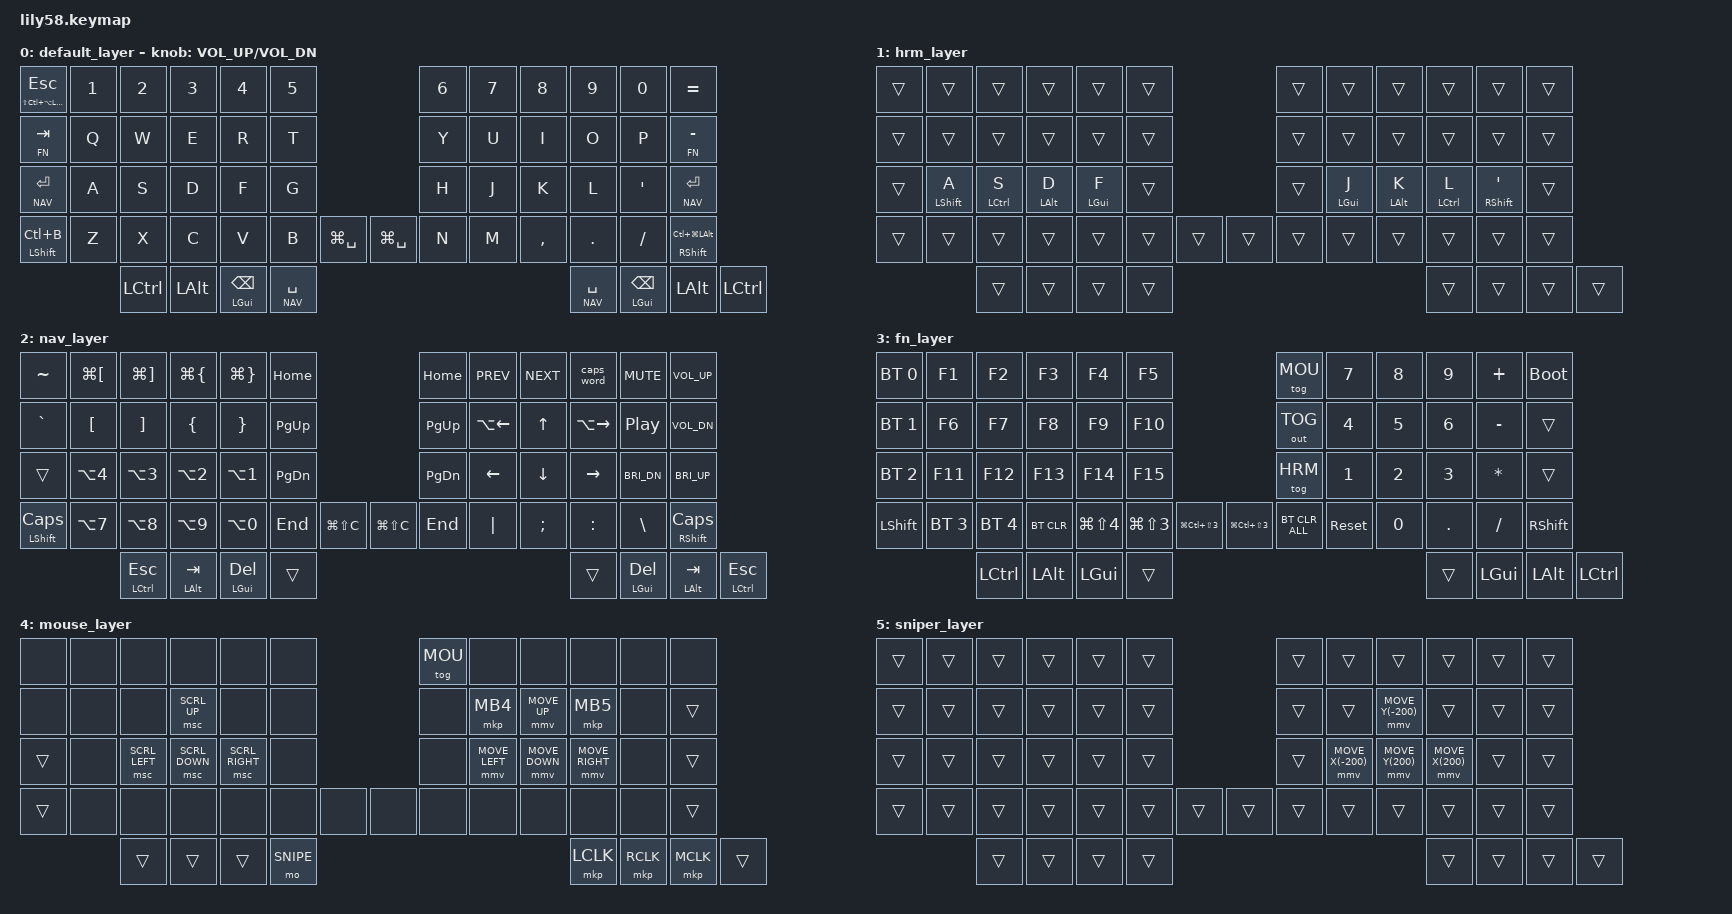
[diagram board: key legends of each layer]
/*
 * Lily58 Pro — alec's keymap
 *
 * Adapted from the jwoolson "Lily58 Pro / Beekeeb Allium58 GLP" v14 layout,
 * with the Windows-only keys swapped for macOS equivalents.
 *
 *   0 default  alpha-numerics & symbols
 *   1 hrm      home row mods — TOGGLED, off by default (&tog 1 on layer 3)
 *   2 nav      navigation, media controls & symbols   (v14 calls this "Layer 1")
 *   3 fn       numpad, F-keys, BT, screenshots        (v14 calls this "Layer 2")
 *   4 mou      mouse emulation — TOGGLED, off by default
 *   5 snipe    slow-cursor overlay, held from inside mou
 *
 * LAYER ORDER IS LOAD-BEARING. ZMK resolves the highest ACTIVE layer first, so
 * `hrm` must sit below `nav`/`fn`. At index 4 it would shadow nav's arrows on
 * S / D / F whenever it was toggled on. Do not renumber without re-checking.
 *
 * `mou` and `snipe` sit ABOVE nav/fn, which is the opposite of the hrm rule and
 * is deliberate: while the cursor is live, the mouse cluster must beat nav's
 * arrows on the same I/J/K/L keys. The cost is that nav is unreachable with mou
 * toggled on — leave mou first.
 *
 * Reaching the layers:
 *   nav  — hold Space (either thumb) or Enter (either home-row pinky)
 *   fn   — hold Tab (left pinky) or Dash (right pinky)
 *   mou  — &tog on fn at [6], or the O+L combo; same key/combo exits
 *
 * Modifiers live on the thumbs: ⌃ outer, then Enter/⌥ and Bksp/⌘ as mod-taps.
 * Both hands emit LEFT-side mod codes, matching ~/.config/kanata/kanata.kbd.
 *
 * NOTE: kanata grabs every keyboard on the Mac, so kanata.kbd carries a
 * `macos-dev-names-exclude ("Lily58")` to stop it stacking its own home row
 * mods on top of layer 1. Keep the two files in sync.
 *
 * SPDX-License-Identifier: MIT
 */

#include <behaviors.dtsi>
#include <dt-bindings/zmk/keys.h>
#include <dt-bindings/zmk/bt.h>
#include <dt-bindings/zmk/ext_power.h>
#include <dt-bindings/zmk/outputs.h>
#include <dt-bindings/zmk/pointing.h>

/* ------------------------------------------------------------------ *
 * Key positions, for the bilateral-combinations guard on layer 1.
 *
 *   0  1  2  3  4  5                6  7  8  9 10 11
 *  12 13 14 15 16 17               18 19 20 21 22 23
 *  24 25 26 27 28 29               30 31 32 33 34 35
 *  36 37 38 39 40 41 42         43 44 45 46 47 48 49
 *           50 51 52 53         54 55 56 57
 *
 * THUMBS also covers 42/43 (the inner Spotlight keys). They sit on a hand
 * physically, but count as neutral so a same-side home row mod can still
 * chord with them.
 * ------------------------------------------------------------------ */
#define LEFT_HAND   0  1  2  3  4  5 12 13 14 15 16 17 24 25 26 27 28 29 36 37 38 39 40 41
#define RIGHT_HAND  6  7  8  9 10 11 18 19 20 21 22 23 30 31 32 33 34 35 44 45 46 47 48 49
#define THUMBS     42 43 50 51 52 53 54 55 56 57

#define DEF   0
#define HRM   1
#define NAV   2
#define FN    3
#define MOU   4
#define SNIPE 5

/* macOS shortcuts bound to single keys */
#define SPOTLIGHT  LG(SPACE)          /* ⌘␣            — Spotlight            */
#define MACCY      LG(LS(C))          /* ⌘⇧C           — Maccy clipboard      */
#define SHOT_CLIP  LG(LC(LS(N3)))     /* ⌘⌃⇧3          — full screen → clipboard */
#define SHOT_FILE  LG(LS(N3))         /* ⌘⇧3           — full screen → file   */
#define SNIP_FILE  LG(LS(N4))         /* ⌘⇧4           — region → file        */
#define HERDR      LC(B)              /* ⌃B            — herdr prefix         */
#define WISPR_HF   LC(LG(LALT))       /* ⌃⌘⌥          — Wispr Flow hands-free */
/* Big chord modifiers: nothing else on macOS claims them, so they are safe
 * targets for app-level hotkeys. Esc holds HYPER; swap to MEH if ⌘ gets in
 * the way (MEH is the same chord without it). */
#define HYPER      LS(LC(LA(LGUI)))   /* ⌃⌥⇧⌘ — reserved for quadclick      */
#define MEH        LS(LC(LALT))       /* ⌃⌥⇧  — the ⌘-less alternative      */

/ {
    behaviors {
        // Thumb layer-tap: HOLD = the layer, TAP = space.
        // hold-preferred: any other key pressed while the thumb is down resolves
        //   to HOLD instantly, so normal layer use never misfires a tap.
        // require-prior-idle-ms: pressed mid-typing-burst -> forced HOLD, so fast
        //   rolls don't emit a stray space.
        lt_thumb: layer_tap_thumb {
            compatible = "zmk,behavior-hold-tap";
            #binding-cells = <2>;
            flavor = "hold-preferred";
            tapping-term-ms = <200>;
            require-prior-idle-ms = <125>;
            bindings = <&mo>, <&kp>;
        };

        // Layer-tap for the four FINGER keys that reach a layer — Tab, Dash and
        // both Enters. "balanced" rather than hold-preferred: these sit in the
        // typing stream, and hold-preferred would turn "Tab then a letter" into
        // a layer press. Balanced only commits to the hold once the other key is
        // pressed AND released inside it.
        lt_key: layer_tap_key {
            compatible = "zmk,behavior-hold-tap";
            #binding-cells = <2>;
            flavor = "balanced";
            tapping-term-ms = <200>;
            quick-tap-ms = <200>;
            require-prior-idle-ms = <125>;
            bindings = <&mo>, <&kp>;
        };

        /* Esc: tap Esc, hold HYPER.
         * "balanced", NOT the stock &mt hold-preferred: Esc is tapped constantly
         * and vim's `<Esc>j` presses a key immediately after. hold-preferred
         * would turn that into HYPER+j. Balanced only takes the hold if the
         * other key is pressed AND released inside it -- and Esc is released
         * before j is pressed, so it stays a tap. Holding Esc alone past the
         * term still resolves to HYPER on timeout, which is what a mouse chord
         * needs, since ZMK never sees the click.
         */
        mt_esc: mod_tap_esc {
            compatible = "zmk,behavior-hold-tap";
            #binding-cells = <2>;
            flavor = "balanced";
            tapping-term-ms = <200>;
            quick-tap-ms = <200>;
            bindings = <&kp>, <&kp>;
        };

        /* ---------------- home row mods (layer 1 only) ----------------
         * ZMK translation of kanata's `tap-hold-release-keys`:
         *
         *   flavor = "balanced"        -> hold only commits once the OTHER key
         *       has been pressed AND released inside the hold. Same resolution
         *       rule as tap-hold-release.
         *
         *   hold-trigger-key-positions -> bilateral combinations. kanata lists
         *       the SAME-hand keys that force a tap; ZMK lists the OPPOSITE-hand
         *       positions allowed to trigger a hold. Same rule, inverted
         *       spelling. Thumbs count for both hands.
         *
         *   hold-trigger-on-release    -> defers the positional check to key
         *       release so a second mod can stack on the first (hold F + hold D,
         *       then tap J = ⌘⌥J). ZMK's equivalent of kanata's
         *       `concurrent-tap-hold yes`.
         *
         *   quick-tap-ms = 200         -> kanata's `tap-time`: tap then re-press
         *       inside 200ms auto-repeats the letter instead of holding a mod.
         *
         *   require-prior-idle-ms      -> no kanata equivalent; ZMK has no
         *       same-hand "force the tap now" escape hatch, so a mod pressed
         *       inside a typing burst is forced to its letter. First knob to
         *       lower if legitimate chords feel blocked.
         */
        hml: home_row_mod_left {
            compatible = "zmk,behavior-hold-tap";
            #binding-cells = <2>;
            flavor = "balanced";
            tapping-term-ms = <200>;
            quick-tap-ms = <200>;
            require-prior-idle-ms = <125>;
            hold-trigger-key-positions = <RIGHT_HAND THUMBS>;
            hold-trigger-on-release;
            bindings = <&kp>, <&kp>;
        };

        hmr: home_row_mod_right {
            compatible = "zmk,behavior-hold-tap";
            #binding-cells = <2>;
            flavor = "balanced";
            tapping-term-ms = <200>;
            quick-tap-ms = <200>;
            require-prior-idle-ms = <125>;
            hold-trigger-key-positions = <LEFT_HAND THUMBS>;
            hold-trigger-on-release;
            bindings = <&kp>, <&kp>;
        };

        /* Pinky variants. 240ms, not 200: the 2026-08-06 typing profile
         * (603 keystrokes) measured the left pinky at p50 109ms / p90 146ms /
         * max 205ms, versus 77-90ms p50 on every other finger. Same 240ms the
         * laptop uses via $pinky-hold-time. Re-measure with
         * `swift ~/.config/kanata/typing-profile.swift` (kanata stopped).
         *
         * require-prior-idle-ms is 100 rather than 125 because unlike the other
         * mods, shift genuinely IS needed mid-burst — a capital mid-sentence.
         */
        hml_pinky: home_row_mod_left_pinky {
            compatible = "zmk,behavior-hold-tap";
            #binding-cells = <2>;
            flavor = "balanced";
            tapping-term-ms = <240>;
            quick-tap-ms = <200>;
            require-prior-idle-ms = <100>;
            hold-trigger-key-positions = <RIGHT_HAND THUMBS>;
            hold-trigger-on-release;
            bindings = <&kp>, <&kp>;
        };

        hmr_pinky: home_row_mod_right_pinky {
            compatible = "zmk,behavior-hold-tap";
            #binding-cells = <2>;
            flavor = "balanced";
            tapping-term-ms = <240>;
            quick-tap-ms = <200>;
            require-prior-idle-ms = <100>;
            hold-trigger-key-positions = <LEFT_HAND THUMBS>;
            hold-trigger-on-release;
            bindings = <&kp>, <&kp>;
        };
    };

    /* ------------------------------------------------------------------
     * Combos.
     *
     * SCOPING: combos match against the HIGHEST active layer only, not
     * every active layer — see zmk_keymap_highest_layer_active() in
     * combo.c. `hrm` is a TOGGLE, so a combo listing only DEF silently
     * stops working the moment home row mods are switched on. Every base
     * combo therefore lists <DEF HRM>.
     *
     * POSITIONS: same-hand only — cross-half combos add the peripheral to
     * central hop and the window gets fragile. Every pair below is either
     * bottom-row or a same-finger vertical, i.e. a bigram that does not
     * occur in English. The home row is off limits entirely: those are the
     * hrm keys whenever layer 1 is on.
     *
     * NO require-prior-idle-ms here, unlike the hold-taps above. It would
     * break `foo(` — you do not pause before typing a paren. Safe key
     * positions do the same job without the timing cost.
     * ------------------------------------------------------------------ */
    combos {
        compatible = "zmk,combos";

        /* Brackets, mirrored across the bottom row: left hand opens, right
         * hand closes. Z<->/  X<->.  C<->,  V<->M — one rule, six bindings.
         * These are the only parentheses on the board; the number row needs
         * shift, and nav's brackets need a layer hold. */
        cbo_lpar { key-positions = <38 39>; bindings = <&kp LPAR>; timeout-ms = <40>; layers = <DEF HRM>; };
        cbo_rpar { key-positions = <46 47>; bindings = <&kp RPAR>; timeout-ms = <40>; layers = <DEF HRM>; };
        cbo_lbkt { key-positions = <39 40>; bindings = <&kp LBKT>; timeout-ms = <40>; layers = <DEF HRM>; };
        cbo_rbkt { key-positions = <45 46>; bindings = <&kp RBKT>; timeout-ms = <40>; layers = <DEF HRM>; };

        /* Pinky pairs get a wider window. The 2026-08-06 typing profile put
         * the left pinky at p50 109ms against 77-90ms everywhere else. */
        cbo_lbrc { key-positions = <37 38>; bindings = <&kp LBRC>; timeout-ms = <55>; layers = <DEF HRM>; };
        cbo_rbrc { key-positions = <47 48>; bindings = <&kp RBRC>; timeout-ms = <55>; layers = <DEF HRM>; };

        /* Same-finger verticals — one finger owns both keys, so no roll at
         * any speed can trigger them. */
        cbo_under { key-positions = <19 31>; bindings = <&kp UNDER>;  timeout-ms = <50>; layers = <DEF HRM>; };
        cbo_minus { key-positions = <20 32>; bindings = <&kp MINUS>;  timeout-ms = <50>; layers = <DEF HRM>; };
        cbo_caps  { key-positions = <14 26>; bindings = <&caps_word>; timeout-ms = <50>; layers = <DEF HRM>; };
        cbo_mouse { key-positions = <21 33>; bindings = <&tog MOU>;   timeout-ms = <50>; layers = <DEF HRM>; };

        /* AeroSpace workspaces 5 and 6 — the two nav has no room for. Same
         * physical positions as the paren/bracket combos above; nav is the
         * higher layer, so it wins and there is no conflict. */
        cbo_ws5 { key-positions = <38 39>; bindings = <&kp LA(N5)>; timeout-ms = <40>; layers = <NAV>; };
        cbo_ws6 { key-positions = <39 40>; bindings = <&kp LA(N6)>; timeout-ms = <40>; layers = <NAV>; };
    };

    keymap {
        compatible = "zmk,keymap";

        default_layer {
// | ESC/HYP|  1  |  2  |  3  |  4  |  5  |                 |  6  |  7  |  8  |  9  |  0  |   =    |
// | TAB/FN |  Q  |  W  |  E  |  R  |  T  |                 |  Y  |  U  |  I  |  O  |  P  | -/FN   |
// | ENT/NAV|  A  |  S  |  D  |  F  |  G  |                 |  H  |  J  |  K  |  L  |  '  | ENT/NAV|
// | ⌃B/⇧   |  Z  |  X  |  C  |  V  |  B  | ⌘␣  |     | ⌘␣  |  N  |  M  |  ,  |  .  |  /  | ⌃⌘⌥/⇧  |
//                      |  ⌃  |  ⌥  | ⌫/⌘ | ␣/NAV |  | ␣/NAV | ⌫/⌘ |  ⌥  |  ⌃  |
//
// The Option thumbs are plain modifiers, NOT mod-taps. The Enter tap that
// used to live there fired by accident too often. Enter is still on both
// home-row pinkies: tap Enter, hold Nav.
//
// The two outer bottom keys are mod-taps: TAP fires the shortcut, HOLD is still
// Shift. Shift is always a hold and both shortcuts are always taps, so nothing
// collides — but they are the ONLY Shift on this layer, so do not make them
// plain &kp without putting Shift somewhere else first.
            bindings = <
&mt_esc HYPER ESC &kp N1 &kp N2 &kp N3 &kp N4 &kp N5                              &kp N6 &kp N7 &kp N8    &kp N9  &kp N0    &kp EQUAL
&lt_key FN TAB   &kp Q  &kp W  &kp E  &kp R  &kp T                               &kp Y  &kp U  &kp I     &kp O   &kp P     &lt_key FN MINUS
&lt_key NAV RET  &kp A  &kp S  &kp D  &kp F  &kp G                               &kp H  &kp J  &kp K     &kp L   &kp SQT   &lt_key NAV RET
&mt LSHFT HERDR  &kp Z  &kp X  &kp C  &kp V  &kp B  &kp SPOTLIGHT  &kp SPOTLIGHT &kp N  &kp M  &kp COMMA &kp DOT &kp FSLH  &mt RSHFT WISPR_HF
                        &kp LCTRL &kp LALT     &mt LGUI BSPC &lt_thumb NAV SPACE   &lt_thumb NAV SPACE &mt LGUI BSPC &kp LALT     &kp LCTRL
            >;

            sensor-bindings = <&inc_dec_kp C_VOL_UP C_VOL_DN>;
        };

        hrm_layer {
// Toggled on and off with &tog 1, which lives on the FN layer at the H key.
// OFF by default. Everything except the eight home-row keys is transparent, so
// the rest of the board behaves exactly as layer 0.
//
//   pinky ⇧ · ring ⌃ · middle ⌥ · index ⌘, mirrored, both hands emitting
//   LEFT-side codes. A hold only becomes a modifier when chorded with the
//   OTHER hand or a thumb; same-hand rolls just type the letter.
//
// Right pinky mod is on ' -- it taps whatever layer 0 has at that position.
            bindings = <
&trans &trans &trans &trans &trans &trans                        &trans &trans &trans &trans &trans &trans
&trans &trans &trans &trans &trans &trans                        &trans &trans &trans &trans &trans &trans
&trans &hml_pinky LSHFT A &hml LCTRL S &hml LALT D &hml LGUI F &trans  &trans &hmr LGUI J &hmr LALT K &hmr LCTRL L &hmr_pinky RSHFT SQT &trans
&trans &trans &trans &trans &trans &trans &trans          &trans &trans &trans &trans &trans &trans &trans
                            &trans &trans &trans &trans   &trans &trans &trans &trans
            >;
        };

        nav_layer {
// |  ~  | ⌘[  | ⌘]  | ⌘{  | ⌘}  | HOME |               | HOME | PREV | NEXT |      | MUTE | VOL+ |
// |  `  |  [  |  ]  |  {  |  }  | PGUP |               | PGUP |  ⌥←  |  ↑   |  ⌥→  | PLAY | VOL- |
// |     | ⌥4  | ⌥3  | ⌥2  | ⌥1  | PGDN |               | PGDN |  ←   |  ↓   |  →   | BRI- | BRI+ |
// |CAPS/⇧| ⌥7 | ⌥8  | ⌥9  | ⌥0  | END  | ⌘⇧C |   | ⌘⇧C |  END |  |   |  ;   |  :   |  \   |CAPS/⇧|
//                   | ESC/⌃ | TAB/⌥ | DEL/⌘ |    |     | DEL/⌘ | TAB/⌥ | ESC/⌃ |
//
// ⌥←/⌥→ are word-wise movement, as in the v14 sheet.
//
// The left hand carries the AeroSpace workspace switches in exactly the places
// they had on the old Raise layer: A/S/D/F = ⌥4/⌥3/⌥2/⌥1, Z/X/C/V = ⌥7/⌥8/⌥9/⌥0.
// The brackets they displaced moved up one row, under the ⌘-bracket family --
// they are the ONLY plain brackets on the whole board, so they cannot simply be
// dropped. That row cost the left-hand ⌘←/↑/⌘→, a duplicate of the arrow
// cluster the right hand still carries.
// The inner keys are Maccy; v14 has the macOS clipboard viewer.
// Thumbs keep their held modifier from layer 0 and change only the tap.
//
// BRI-/BRI+ are not in the v14 sheet either; they fill the last two free slots
// in the bottom-right, extending the media block down a row. BRI+ sits on the
// Enter/Nav key itself, so reach it by holding the OTHER nav key — a thumb.
            bindings = <
&kp TILDE      &kp LG(LBKT) &kp LG(RBKT) &kp LG(LBRC) &kp LG(RBRC) &kp HOME                      &kp HOME  &kp C_PREV &kp C_NEXT &caps_word    &kp C_MUTE &kp C_VOL_UP
&kp GRAVE      &kp LBKT     &kp RBKT     &kp LBRC     &kp RBRC     &kp PG_UP                    &kp PG_UP &kp LA(LEFT) &kp UP   &kp LA(RIGHT) &kp C_PP   &kp C_VOL_DN
&trans         &kp LA(N4)   &kp LA(N3)   &kp LA(N2)   &kp LA(N1)   &kp PG_DN                     &kp PG_DN &kp LEFT   &kp DOWN   &kp RIGHT     &kp C_BRI_DN &kp C_BRI_UP
&mt LSHFT CAPS &kp LA(N7)   &kp LA(N8)   &kp LA(N9)   &kp LA(N0)   &kp END   &kp MACCY &kp MACCY &kp END   &kp PIPE   &kp SEMI   &kp COLON     &kp BSLH   &mt RSHFT CAPS
                                         &mt LCTRL ESC &mt LALT TAB &mt LGUI DEL &trans   &trans &mt LGUI DEL &mt LALT TAB &mt LCTRL ESC
            >;
        };

        fn_layer {
// | BT0 | F1  | F2  | F3  | F4  | F5  |                   | MOU |  7  |  8  |  9  |  +  | BOOT|
// | BT1 | F6  | F7  | F8  | F9  | F10 |                   | OUT |  4  |  5  |  6  |  -  |     |
// | BT2 | F11 | F12 | F13 | F14 | F15 |                   | HRM |  1  |  2  |  3  |  *  |     |
// |  ⇧  | BT3 | BT4 | BTX | ⌘⇧4 | ⌘⇧3 | ⌘⌃⇧3 | | ⌘⌃⇧3 | BTX!| RST |  0  |  .  |  /  |  ⇧  |
//                   |  ⌃  |  ⌥  |  ⌘  |      |  |      |  ⌘  |  ⌥  |  ⌃  |
//
// HRM (at the H key) is &tog 1 — flips the home row mods on and off.
// MOU (at the 6 key) is &tog 4 — the mouse layer. Same key exits.
//
// The five slots that used to be &trans here fell through to nothing, so they
// were free: BOOT is &bootloader, in the top-right corner where it is hardest
// to hit by accident — it ends the double-tap-reset-on-both-halves dance every
// flash. OUT is &out OUT_TOG, the USB/BLE selector this board never had; it
// matters when plugged in to charge and ZMK picks the wrong endpoint. BTX! is
// BT_CLR_ALL, needed after any change to the HID report descriptor. RST is
// &sys_reset.
//
// [23] and [35] are still &trans ON PURPOSE: they fall through to
// &lt_key FN MINUS and &lt_key NAV RET, so Dash and Enter keep working here.
//
// The BT row is NOT in the v14 sheet; it is carried over from the previous
// keymap. Without it there is no way to pick or clear a Bluetooth profile,
// which on a wireless board means no way to switch or re-pair hosts.
//
// v14's Snip Tool / Print Screen / Win11 Clipboard are Windows-only. Mapped to
// the macOS equivalents: region→file, full→file, and full→clipboard on the
// inner keys.
            bindings = <
&bt BT_SEL 0 &kp F1       &kp F2       &kp F3      &kp F4        &kp F5                             &tog MOU     &kp N7 &kp N8 &kp N9 &kp PLUS     &bootloader
&bt BT_SEL 1 &kp F6       &kp F7       &kp F8      &kp F9        &kp F10                            &out OUT_TOG &kp N4 &kp N5 &kp N6 &kp MINUS    &trans
&bt BT_SEL 2 &kp F11      &kp F12      &kp F13     &kp F14       &kp F15                            &tog HRM     &kp N1 &kp N2 &kp N3 &kp ASTERISK &trans
&kp LSHFT    &bt BT_SEL 3 &bt BT_SEL 4 &bt BT_CLR  &kp SNIP_FILE &kp SHOT_FILE &kp SHOT_CLIP   &kp SHOT_CLIP &bt BT_CLR_ALL &sys_reset &kp N0 &kp DOT &kp SLASH &kp RSHFT
                                       &kp LCTRL   &kp LALT      &kp LGUI      &trans          &trans  &kp LGUI &kp LALT &kp LCTRL
            >;
        };

        mouse_layer {
// |     |     |     |      |      |     |             | MOU |     |     |     |     |     |
// |     |     |     |SCRL↑ |      |     |             |     | BACK|  ↑  | FWD |     |     |
// | ENT |     |SCRL← |SCRL↓ |SCRL→ |     |            |     |  ←  |  ↓  |  →  |     | ENT |
// |  ⇧  |     |     |      |      |     |     |  |     |     |     |     |     |     |  ⇧  |
//                   |  ⌃  |  ⌥  |  ⌘  | SNIPE |  | LCLK| RCLK| MCLK|  ⌃  |
//
// Toggled with &tog MOU — on fn at [6], or the O+L combo. The SAME key or
// combo exits. &tog, NOT &to DEF: &to would also clear the hrm layer if you
// happened to have home row mods toggled on.
//
// The cursor is on I/J/K/L, the exact inverted-T the nav layer already uses for
// arrows, so the muscle memory transfers with nothing to relearn. Clicks are on
// the RIGHT thumb, same hand as the cursor — the physical mouse metaphor.
// Scroll is mirrored on the LEFT hand at E/S/D/F: this layer is toggled rather
// than held, so the other hand is free and you can scroll and move at once.
//
// The modifiers at [24] [36] [49] [50] [51] [52] [57] are &trans, and that is
// LOAD-BEARING: ⌘-click, ⇧-click, ⌃-click and ⌥-drag are not optional on macOS,
// so LGUI/LSHFT/LCTRL/LALT have to survive into this layer. ⌘ specifically
// lives on the LEFT thumb here, since the right thumb is all buttons now.
//
// Everything else is &none, not &trans. On a toggled layer &trans would let a
// stray finger type letters mid-drag; &none makes the board inert apart from
// the cursor cluster and the modifiers.
            bindings = <
&none  &none  &none          &none           &none            &none                                       &tog MOU &none          &none           &none            &none  &none
&none  &none  &none          &msc SCRL_UP    &none            &none                                       &none    &mkp MB4       &mmv MOVE_UP    &mkp MB5         &none  &trans
&trans &none  &msc SCRL_LEFT &msc SCRL_DOWN  &msc SCRL_RIGHT  &none                                       &none    &mmv MOVE_LEFT &mmv MOVE_DOWN  &mmv MOVE_RIGHT  &none  &trans
&trans &none  &none          &none           &none            &none  &none                         &none  &none    &none          &none           &none            &none  &trans
                                             &trans &trans &trans &mo SNIPE            &mkp LCLK &mkp RCLK &mkp MCLK &trans
            >;
        };

        sniper_layer {
// Held from the left inner thumb while mou is active. Same four cursor keys at
// roughly a third velocity, for pixel work.
//
// This IS the DPI-shift key. Mouse emulation has no sensor and no runtime
// sensitivity setting — MOVE_UP and friends expand to +/-600 via
// ZMK_POINTING_DEFAULT_MOVE_VAL, and a second layer carrying explicit
// MOVE_X()/MOVE_Y() values is the only way to change speed without a reflash.
//
// Everything else is &trans and falls through to mou, so the clicks, the scroll
// cluster and the modifiers all stay live while sniping.
            bindings = <
&trans &trans &trans &trans &trans &trans                       &trans &trans            &trans            &trans           &trans &trans
&trans &trans &trans &trans &trans &trans                       &trans &trans            &mmv MOVE_Y(-200) &trans           &trans &trans
&trans &trans &trans &trans &trans &trans                       &trans &mmv MOVE_X(-200) &mmv MOVE_Y(200)  &mmv MOVE_X(200) &trans &trans
&trans &trans &trans &trans &trans &trans &trans         &trans &trans &trans            &trans            &trans           &trans &trans
                            &trans &trans &trans &trans         &trans &trans &trans &trans
            >;
        };
    };
};
